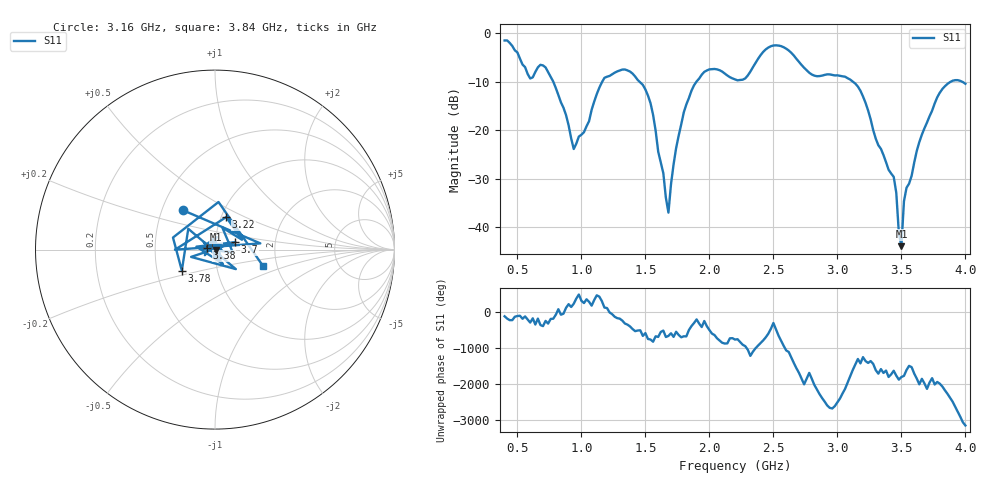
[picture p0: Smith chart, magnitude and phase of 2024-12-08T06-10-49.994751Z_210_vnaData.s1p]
!Created with skrf (http://scikit-rf.org).
# Hz S RI R 50.0
!freq ReS11 ImS11
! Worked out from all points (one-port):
!   181 points, 400 MHz to 4 GHz, reference 50 ohm
!   lowest |S11| = -43.8 dB at 3.5 GHz (marker M1), VSWR 1.01, Z = 50.6 - j0.119 ohm
!   |S11| at or under -10 dB: 780.3 MHz to 1.163 GHz (382.5 MHz wide, 39.4 % of centre); 1.454 GHz to 1.899 GHz (444.8 MHz wide, 26.5 % of centre); 3.121 GHz to 3.886 GHz (764.7 MHz wide, 21.8 % of centre) (the widest 3 of 4)
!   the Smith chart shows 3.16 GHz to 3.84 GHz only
!   S11 on the Smith chart (normalised r, x): 3.16 GHz: 0.64, +0.31; 3.22 GHz: 1.06, +0.40; 3.38 GHz: 0.91, +0.02; 3.7 GHz: 1.25, +0.11; 3.78 GHz: 0.67, -0.17; 3.84 GHz: 1.69, -0.34
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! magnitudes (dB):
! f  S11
! 400 MHz  -1.5
! 600 MHz  -9.3
! 720 MHz  -7.1
! 860 MHz  -15.4
! 940 MHz  -23.9
! 1.18 GHz  -9.2
! 1.3 GHz  -7.7
! 1.52 GHz  -12.9
! 1.68 GHz  -36.9
! 1.76 GHz  -21.1
! 1.86 GHz  -11.9
! 1.96 GHz  -8.0
! 2.2 GHz  -9.5
! 2.48 GHz  -2.7
! 2.66 GHz  -4.6
! 2.82 GHz  -8.8
! 3.1 GHz  -9.6
! 3.16 GHz  -11.0
! 3.22 GHz  -14.4
! 3.38 GHz  -26.6
! 3.44 GHz  -29.6
! 3.5 GHz  -43.8
! 3.52 GHz  -34.6
! 3.56 GHz  -31.0
! 3.7 GHz  -18.4
! 3.78 GHz  -13.2
! 3.84 GHz  -10.9
! 4 GHz  -10.4
